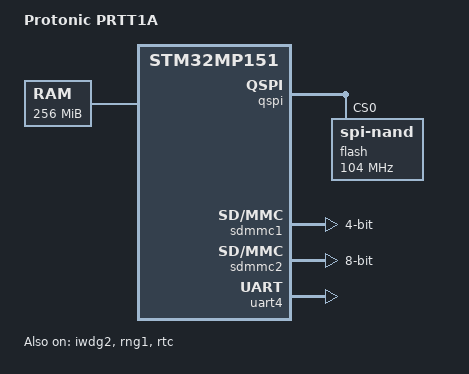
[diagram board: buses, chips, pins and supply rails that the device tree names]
// SPDX-License-Identifier: (GPL-2.0+ OR BSD-3-Clause)
/*
 * Copyright (C) 2023, Protonic Holland - All Rights Reserved
 * Author: David Jander <david@protonic.nl>
 */
/dts-v1/;

#include "stm32mp151.dtsi"
#include "stm32mp15-pinctrl.dtsi"
#include "stm32mp15xxad-pinctrl.dtsi"
#include <dt-bindings/clock/stm32mp1-clksrc.h>
#include "stm32mp15-ddr3-1x2Gb-1066-binG.dtsi"

/ {
	model = "Protonic PRTT1A";
	compatible = "prt,prtt1a", "st,stm32mp151";

	chosen {
		stdout-path = "serial0:115200n8";
	};

	aliases {
		mmc0 = &sdmmc1;
		mmc1 = &sdmmc2;
		serial0 = &uart4;
	};

	memory@c0000000 {
		device_type = "memory";
		reg = <0xC0000000 0x10000000>;
	};
};

&iwdg2 {
	timeout-sec = <32>;
	status = "okay";
	secure-status = "okay";
};

&qspi {
	pinctrl-names = "default", "sleep";
	pinctrl-0 = <&qspi_clk_pins_a
		     &qspi_bk1_pins_a
		     &qspi_cs1_pins_a>;
	reg = <0x58003000 0x1000>, <0x70000000 0x4000000>;
	#address-cells = <1>;
	#size-cells = <0>;
	status = "okay";

	flash@0 {
		compatible = "spi-nand";
		reg = <0>;
		spi-rx-bus-width = <4>;
		spi-max-frequency = <104000000>;
		#address-cells = <1>;
		#size-cells = <1>;
	};
};

&qspi_bk1_pins_a {
	pins {
		bias-pull-up;
		drive-push-pull;
		slew-rate = <1>;
	};
};

&rcc {
	st,clksrc = <
		CLK_MPU_PLL1P
		CLK_AXI_PLL2P
		CLK_MCU_PLL3P
		CLK_PLL12_HSE
		CLK_PLL3_HSE
		CLK_PLL4_HSE
		CLK_RTC_LSI
		CLK_MCO1_DISABLED
		CLK_MCO2_DISABLED
	>;

	st,clkdiv = <
		1 /*MPU*/
		0 /*AXI*/
		0 /*MCU*/
		1 /*APB1*/
		1 /*APB2*/
		1 /*APB3*/
		1 /*APB4*/
		2 /*APB5*/
		23 /*RTC*/
		0 /*MCO1*/
		0 /*MCO2*/
	>;

	st,pkcs = <
		CLK_CKPER_HSE
		CLK_FMC_ACLK
		CLK_QSPI_ACLK
		CLK_ETH_DISABLED
		CLK_SDMMC12_PLL4P
		CLK_DSI_DSIPLL
		CLK_STGEN_HSE
		CLK_USBPHY_HSE
		CLK_SPI2S1_PLL3Q
		CLK_SPI2S23_PLL3Q
		CLK_SPI45_HSI
		CLK_SPI6_HSI
		CLK_I2C46_HSI
		CLK_SDMMC3_PLL4P
		CLK_USBO_USBPHY
		CLK_ADC_CKPER
		CLK_CEC_LSI
		CLK_I2C12_HSI
		CLK_I2C35_HSI
		CLK_UART1_HSI
		CLK_UART24_HSI
		CLK_UART35_HSI
		CLK_UART6_HSI
		CLK_UART78_HSI
		CLK_SPDIF_PLL4P
		CLK_FDCAN_PLL4R
		CLK_SAI1_PLL3Q
		CLK_SAI2_PLL3Q
		CLK_SAI3_PLL3Q
		CLK_SAI4_PLL3Q
		CLK_RNG1_LSI
		CLK_RNG2_LSI
		CLK_LPTIM1_PCLK1
		CLK_LPTIM23_PCLK3
		CLK_LPTIM45_LSI
	>;

	/* VCO = 1300.0 MHz => P = 650 (CPU) */
	pll1: st,pll@0 {
		compatible = "st,stm32mp1-pll";
		reg = <0>;
		cfg = <2 80 0 0 0 PQR(1,0,0)>;
		frac = <0x800>;
	};

	/* VCO = 1066.0 MHz => P = 266 (AXI), Q = 533 (GPU), R = 533 (DDR) */
	pll2: st,pll@1 {
		compatible = "st,stm32mp1-pll";
		reg = <1>;
		cfg = <2 65 1 0 0 PQR(1,1,1)>;
		frac = <0x1400>;
	};

	/* VCO = 417.8 MHz => P = 209, Q = 24, R = 11 */
	pll3: st,pll@2 {
		compatible = "st,stm32mp1-pll";
		reg = <2>;
		cfg = <1 33 1 16 36 PQR(1,1,1)>;
		frac = <0x1a04>;
	};

	/* VCO = 480.0 MHz => P = 120, Q = 40, R = 96 */
	pll4: st,pll@3 {
		compatible = "st,stm32mp1-pll";
		reg = <3>;
		cfg = <1 39 3 11 4 PQR(1,1,1)>;
	};
};

&rng1 {
	status = "okay";
};

&rtc {
	status = "okay";
};

&sdmmc1 {
	pinctrl-names = "default";
	pinctrl-0 = <&sdmmc1_b4_pins_a>;
	bus-width = <4>;
	status = "okay";
};

&sdmmc1_b4_pins_a {
	pins1 {
		bias-pull-up;
	};
	pins2 {
		bias-pull-up;
	};
};

/* NOTE: Although the PRTT1A does not have an eMMC, we declare it
 * anyway, in order to be able to use the same binary for the
 * PRTT1C also. All involved pins are N.C. on PRTT1A/S for that
 * reason, so it should do no harm. All inputs configured with
 * pull-ups to avoid floating inputs. */
&sdmmc2 {
	pinctrl-names = "default";
	pinctrl-0 = <&sdmmc2_b4_pins_a &sdmmc2_d47_pins_a>;
	bus-width = <8>;
	status = "okay";
};

&sdmmc2_b4_pins_a {
	pins1 {
		pinmux = <STM32_PINMUX('B', 14, AF9)>, /* SDMMC2_D0 */
			 <STM32_PINMUX('B', 7, AF10)>, /* SDMMC2_D1 */
			 <STM32_PINMUX('B', 3, AF9)>, /* SDMMC2_D2 */
			 <STM32_PINMUX('B', 4, AF9)>, /* SDMMC2_D3 */
			 <STM32_PINMUX('G', 6, AF10)>; /* SDMMC2_CMD */
	};
};

&sdmmc2_d47_pins_a {
	pins {
		pinmux = <STM32_PINMUX('A', 8, AF9)>, /* SDMMC2_D4 */
			 <STM32_PINMUX('A', 9, AF10)>, /* SDMMC2_D5 */
			 <STM32_PINMUX('C', 6, AF10)>, /* SDMMC2_D6 */
			 <STM32_PINMUX('C', 7, AF10)>; /* SDMMC2_D7 */
	};
};

&uart4 {
	pinctrl-names = "default";
	pinctrl-0 = <&uart4_pins_a>;
	status = "okay";
};

&uart4_pins_a {
	pins1 {
		pinmux = <STM32_PINMUX('B', 9, AF8)>; /* UART4_TX */
		bias-disable;
		drive-push-pull;
		slew-rate = <0>;
	};
	pins2 {
		pinmux = <STM32_PINMUX('B', 2, AF8)>; /* UART4_RX */
		bias-pull-up;
	};
};
